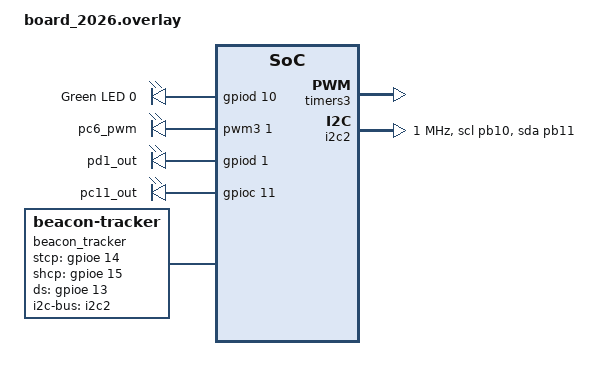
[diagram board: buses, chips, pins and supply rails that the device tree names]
#include <zephyr/dt-bindings/pwm/pwm.h>
#include <zephyr/dt-bindings/gpio/gpio.h>

/ {
	leds {
		compatible = "gpio-leds";

		led0: led_0 {
			gpios = <&gpiod 10 GPIO_ACTIVE_HIGH>;
			label = "Green LED 0";
		};


	};

	aliases {
		my-pwm = &pc6_pwm;
		my-pin = &pd1_out;
		my-pin2 = &pc11_out;
	};

	pwm_outputs {
		compatible = "pwm-leds";
		pc6_pwm: pc6_pwm {
			pwms = <&pwm3 1 PWM_KHZ(25) PWM_POLARITY_NORMAL>;
		};
	};

	gpio_outputs {
		compatible = "gpio-leds";
		pd1_out: pd1_out {
			gpios = <&gpiod 1 GPIO_ACTIVE_HIGH>;
		};

		pc11_out: pc11_out {
			gpios = <&gpioc 11 GPIO_ACTIVE_HIGH>;
		};
	};

};

&clk_hse { status = "disabled"; };
&clk_lse { status = "disabled"; };

&clk_hsi {
	status = "okay";
	hsi-div = <1>;
};

&pll {
	status = "okay";
	clocks = <&clk_hsi>;
	div-m = <4>;
	mul-n = <60>;
	div-p = <2>;
	div-q = <5>;
	div-r = <2>;
};

&pll2 { status = "disabled"; };
&pll3 { status = "disabled"; };

&rcc {
	clocks = <&pll>;
	clock-frequency = <DT_FREQ_M(480)>;
	d1cpre = <1>;
	hpre = <2>;
	d1ppre = <2>;
	d2ppre1 = <2>;
	d2ppre2 = <2>;
	d3ppre = <2>;
};

&timers3 {
	status = "okay";
	st,prescaler = <3>;

	pwm3: pwm {
		status = "okay";
		pinctrl-0 = <&tim3_ch1_pc6>;
		pinctrl-names = "default";
	};
};

&fdcan1 { status = "disabled"; };

/ {
	beacon_tracker: beacon-tracker {
		compatible = "beacon-tracker";
		i2c-bus = <&i2c2>;
		addresses = <0x30 0x31 0x32 0x33 0x34 0x35 0x36 0x37>;
		stcp-gpios = <&gpioe 14 GPIO_ACTIVE_HIGH>;
		shcp-gpios = <&gpioe 15 GPIO_ACTIVE_HIGH>;
		ds-gpios   = <&gpioe 13 GPIO_ACTIVE_HIGH>;
	};

	aliases {
		lidar=&beacon_tracker;
		i2c-0 = &i2c2;
	};
};

&i2c2 {
	pinctrl-0 = <&i2c2_scl_pb10 &i2c2_sda_pb11>;
	pinctrl-names = "default";
	status = "okay";
	clock-frequency = <I2C_BITRATE_FAST_PLUS>;
	timings = <120000000 1000000 0xD42036>; /* use samples/boards/st/i2c_timing to get the parameters */
};
